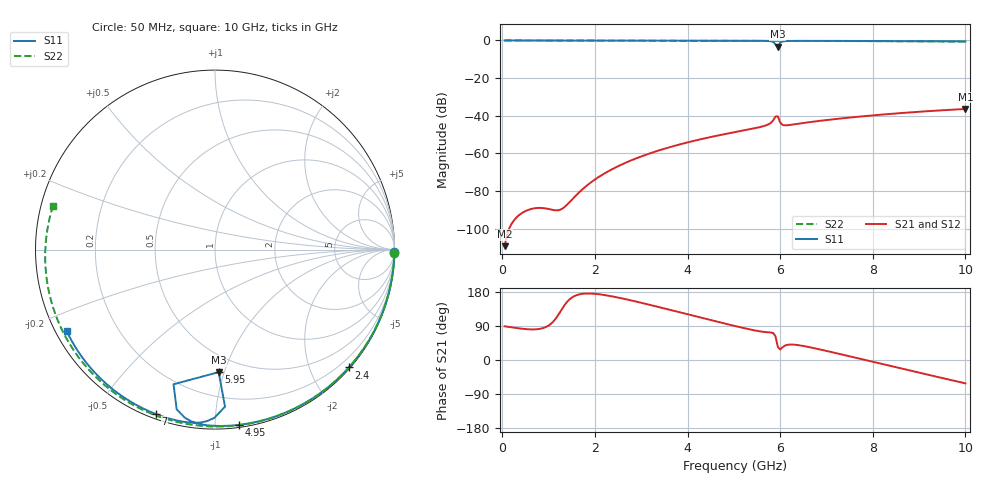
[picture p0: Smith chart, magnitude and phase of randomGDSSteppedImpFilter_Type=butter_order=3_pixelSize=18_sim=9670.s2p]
! freq	dB(S11)	phase(S11)	dB(S12)	phase(S12)
!  dB(S21)	phase(S21)	dB(S22)	phase(S22)
!S-par simulation data
#  GHz  S  DB  R 50
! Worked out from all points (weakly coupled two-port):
!   200 points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, 50 MHz to 10 GHz, reference 50 ohm
!   highest |S21| = -36.41 dB at 10 GHz (marker M1); lowest = -109.3 dB at 50 MHz (marker M2)
!   lowest |S11| = -3.3 dB at 5.95 GHz (marker M3), VSWR 5.31, Z = 18.7 - j47.9 ohm
!   |S11| at or under -10 dB: nowhere
!   |S22| runs from -0.6 to 0.0 dB; largest |S21 - S12| = 0
!   S11 on the Smith chart (normalised r, x): 50 MHz: open; 2.4 GHz: 0.02, -2.65; 4.95 GHz: 0.02, -1.15; 5.95 GHz: 0.37, -0.96; 7 GHz: 0.02, -0.70; 10 GHz: 0.03, -0.26
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0.05  -0.00 -0.9  -109.30 89.0  -109.30 89.0  -0.00 -1.2
0.8  -0.02 -14.0  -88.97 82.0  -88.97 82.0  -0.02 -18.5
1.65  -0.04 -28.7  -80.91 172.8  -80.91 172.8  -0.05 -37.6
1.75  -0.04 -30.4  -78.66 174.9  -78.66 174.9  -0.05 -39.9
2.05  -0.04 -35.5  -73.06 174.0  -73.06 174.0  -0.06 -46.4
2.4  -0.05 -41.3  -68.05 167.2  -68.05 167.2  -0.07 -54.0
2.85  -0.06 -48.8  -63.05 155.3  -63.05 155.3  -0.08 -63.5
3.4  -0.08 -57.7  -58.29 139.1  -58.29 139.1  -0.10 -74.8
4.15  -0.10 -69.7  -53.27 116.1  -53.27 116.1  -0.12 -89.7
4.95  -0.13 -82.3  -49.05 91.8  -49.05 91.8  -0.16 -104.9
5.05  -0.13 -83.9  -48.58 88.9  -48.58 88.9  -0.16 -106.7
5.75  -0.30 -97.8  -44.53 72.9  -44.53 72.9  -0.20 -119.5
5.85  -0.76 -103.5  -42.50 71.0  -42.50 71.0  -0.20 -121.3
5.9  -2.10 -107.1  -40.40 62.2  -40.40 62.2  -0.21 -122.2
5.95  -3.31 -88.3  -40.34 34.7  -40.34 34.7  -0.21 -123.0
6  -1.14 -86.3  -43.55 27.7  -43.55 27.7  -0.21 -123.9
6.1  -0.38 -92.8  -45.12 37.7  -45.12 37.7  -0.22 -125.7
6.7  -0.22 -105.3  -43.19 32.1  -43.19 32.1  -0.26 -136.3
7  -0.23 -109.8  -42.30 24.0  -42.30 24.0  -0.28 -141.5
8.35  -0.33 -128.7  -39.08 -14.8  -39.08 -14.8  -0.40 -165.0
9.2  -0.42 -140.2  -37.56 -39.1  -37.56 -39.1  -0.49 179.8
10  -0.51 -151.1  -36.41 -61.6  -36.41 -61.6  -0.58 165.0
